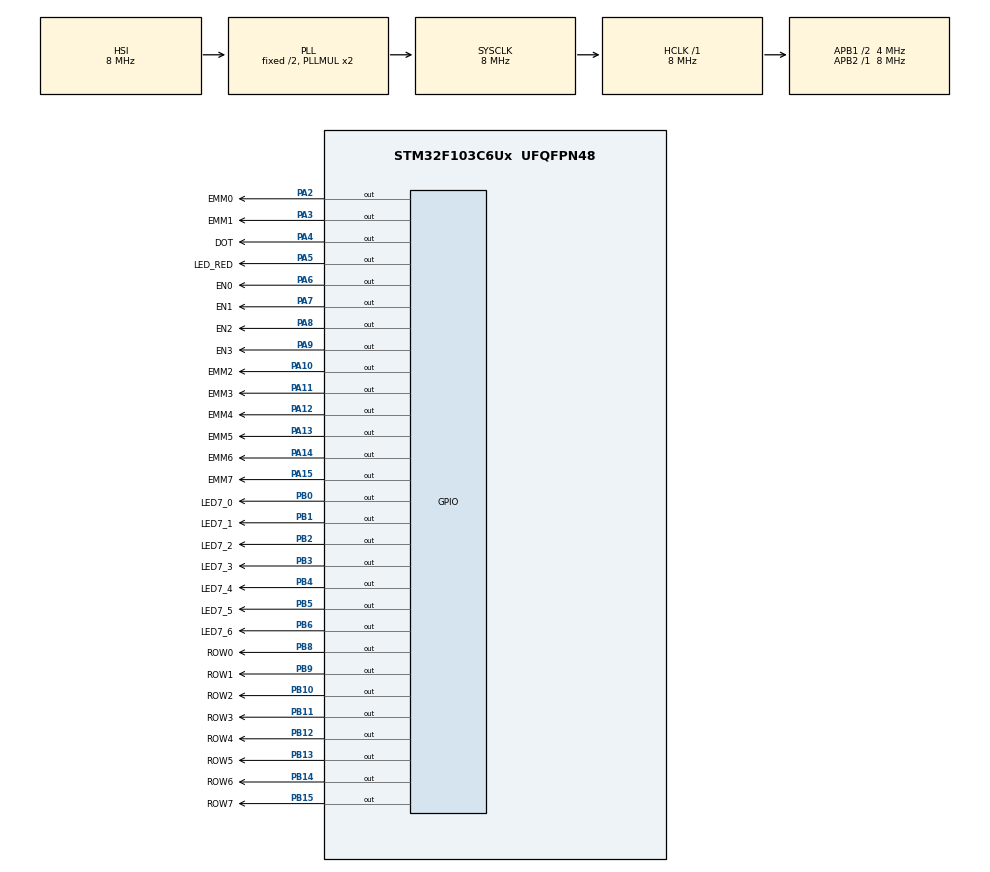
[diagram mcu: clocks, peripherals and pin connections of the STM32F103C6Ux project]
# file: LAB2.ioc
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Mcu.Family=STM32F1
Mcu.Name=STM32F103C6Ux
Mcu.Package=UFQFPN48
NVIC.PriorityGroup=NVIC_PRIORITYGROUP_4
NVIC.TIM2_IRQn=true\:0\:0\:false\:false\:true\:true\:true\:true
PA10.GPIO_Label=EMM2
PA10.Signal=GPIO_Output
PA11.GPIO_Label=EMM3
PA11.Signal=GPIO_Output
PA12.GPIO_Label=EMM4
PA12.Signal=GPIO_Output
PA13.GPIO_Label=EMM5
PA13.Signal=GPIO_Output
PA14.GPIO_Label=EMM6
PA14.Signal=GPIO_Output
PA15.GPIO_Label=EMM7
PA15.Signal=GPIO_Output
PA2.GPIO_Label=EMM0
PA2.Signal=GPIO_Output
PA3.GPIO_Label=EMM1
PA3.Signal=GPIO_Output
PA4.GPIO_Label=DOT
PA4.Signal=GPIO_Output
PA5.GPIO_Label=LED_RED
PA5.Signal=GPIO_Output
PA6.GPIO_Label=EN0
PA6.Signal=GPIO_Output
PA7.GPIO_Label=EN1
PA7.Signal=GPIO_Output
PA8.GPIO_Label=EN2
PA8.Signal=GPIO_Output
PA9.GPIO_Label=EN3
PA9.Signal=GPIO_Output
PB0.GPIO_Label=LED7_0
PB0.Signal=GPIO_Output
PB1.GPIO_Label=LED7_1
PB1.Signal=GPIO_Output
PB10.GPIO_Label=ROW2
PB10.Signal=GPIO_Output
PB11.GPIO_Label=ROW3
PB11.Signal=GPIO_Output
PB12.GPIO_Label=ROW4
PB12.Signal=GPIO_Output
PB13.GPIO_Label=ROW5
PB13.Signal=GPIO_Output
PB14.GPIO_Label=ROW6
PB14.Signal=GPIO_Output
PB15.GPIO_Label=ROW7
PB15.Signal=GPIO_Output
PB2.GPIO_Label=LED7_2
PB2.Signal=GPIO_Output
PB3.GPIO_Label=LED7_3
PB3.Signal=GPIO_Output
PB4.GPIO_Label=LED7_4
PB4.Signal=GPIO_Output
PB5.GPIO_Label=LED7_5
PB5.Signal=GPIO_Output
PB6.GPIO_Label=LED7_6
PB6.Signal=GPIO_Output
PB8.GPIO_Label=ROW0
PB8.Signal=GPIO_Output
PB9.GPIO_Label=ROW1
PB9.Signal=GPIO_Output
ProjectManager.HeapSize=0x200
ProjectManager.StackSize=0x400
ProjectManager.TargetToolchain=STM32CubeIDE
RCC.AHBFreq_Value=8000000
RCC.APB1CLKDivider=RCC_HCLK_DIV2
RCC.APB1Freq_Value=4000000
RCC.APB1TimFreq_Value=8000000
RCC.APB2Freq_Value=8000000
RCC.APB2TimFreq_Value=8000000
RCC.HCLKFreq_Value=8000000
RCC.SYSCLKFreq_VALUE=8000000
RCC.SYSCLKSource=RCC_SYSCLKSOURCE_PLLCLK
RCC.USBFreq_Value=8000000
TIM2.Period=2
TIM2.Prescaler=7999
VP_TIM2_VS_ClockSourceINT.Mode=Internal
board=custom

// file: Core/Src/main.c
/* USER CODE BEGIN Header */
/**
  ******************************************************************************
  * @file           : main.c
  * @brief          : Main program body
  ******************************************************************************
  * @attention
  *
  * Copyright (c) 2022 STMicroelectronics.
  * All rights reserved.
  *
  * This software is licensed under terms that can be found in the LICENSE file
  * in the root directory of this software component.
  * If no LICENSE file comes with this software, it is provided AS-IS.
  *
  ******************************************************************************
  */
/* USER CODE END Header */
#include "main.h"
#include "SoftwareTimer.h"

TIM_HandleTypeDef htim2;

void SystemClock_Config(void);
static void MX_GPIO_Init(void);
static void MX_TIM2_Init(void);

/* USER CODE BEGIN 0 */

void HAL_TIM_PeriodElapsedCallback ( TIM_HandleTypeDef * htim )
{
	timerRun();
 }

void displayDOT ( uint8_t num ) { // LSB (0) = > MSB (7)
	HAL_GPIO_WritePin ( EMM0_GPIO_Port , EMM7_Pin , !( num & 0x01 )) ;
	HAL_GPIO_WritePin ( EMM1_GPIO_Port , EMM6_Pin , !( num & 0x02 )) ;
	HAL_GPIO_WritePin ( EMM2_GPIO_Port , EMM5_Pin , !( num & 0x04 )) ;
	HAL_GPIO_WritePin ( EMM3_GPIO_Port , EMM4_Pin , !( num & 0x08 )) ;
	HAL_GPIO_WritePin ( EMM4_GPIO_Port , EMM3_Pin , !( num & 0x10 )) ;
	HAL_GPIO_WritePin ( EMM5_GPIO_Port , EMM2_Pin , !( num & 0x20 )) ;
	HAL_GPIO_WritePin ( EMM6_GPIO_Port , EMM1_Pin , !( num & 0x40 )) ;
	HAL_GPIO_WritePin ( EMM7_GPIO_Port , EMM0_Pin , !( num & 0x80 )) ;
 }

void clearMatrix () {
 HAL_GPIO_WritePin ( ROW0_GPIO_Port , ROW0_Pin , 1) ;
 HAL_GPIO_WritePin ( ROW1_GPIO_Port , ROW1_Pin , 1) ;
 HAL_GPIO_WritePin ( ROW2_GPIO_Port , ROW2_Pin , 1) ;
 HAL_GPIO_WritePin ( ROW3_GPIO_Port , ROW3_Pin , 1) ;
 HAL_GPIO_WritePin ( ROW4_GPIO_Port , ROW4_Pin , 1) ;
 HAL_GPIO_WritePin ( ROW5_GPIO_Port , ROW5_Pin , 1) ;
 HAL_GPIO_WritePin ( ROW6_GPIO_Port , ROW6_Pin , 1) ;
 HAL_GPIO_WritePin ( ROW7_GPIO_Port , ROW7_Pin , 1) ;
}

uint8_t matrix_buffer [8] = {0x18 ,0x3c ,0x66 ,0x66 ,0x7e ,0x66 ,0x66 ,0x66 }; // 	 .

void updateLEDMatrix (int index ) {
 switch ( index ) {
 	 case 0:
		displayDOT ( matrix_buffer [0]) ;
		HAL_GPIO_WritePin ( ROW7_GPIO_Port , ROW7_Pin , 1) ;
		HAL_GPIO_WritePin ( ROW0_GPIO_Port , ROW0_Pin , 0) ;
		break ;
 	 case 1:
 		 displayDOT ( matrix_buffer [1]) ;
 		 HAL_GPIO_WritePin ( ROW0_GPIO_Port , ROW0_Pin , 1) ;
 		 HAL_GPIO_WritePin ( ROW1_GPIO_Port , ROW1_Pin , 0) ;
 		 break ;
 	 case 2:
 		 displayDOT ( matrix_buffer [2]) ;
 		 HAL_GPIO_WritePin ( ROW1_GPIO_Port , ROW1_Pin , 1) ;
 		 HAL_GPIO_WritePin ( ROW2_GPIO_Port , ROW2_Pin , 0) ;
 		 break ;
 	 case 3:
 		 displayDOT ( matrix_buffer [3]) ;
 		 HAL_GPIO_WritePin ( ROW2_GPIO_Port , ROW2_Pin , 1) ;
 		 HAL_GPIO_WritePin ( ROW3_GPIO_Port , ROW3_Pin , 0) ;
 		 break ;
 	 case 4:
 		 displayDOT ( matrix_buffer [4]) ;
 		 HAL_GPIO_WritePin ( ROW3_GPIO_Port , ROW3_Pin , 1) ;
 		 HAL_GPIO_WritePin ( ROW4_GPIO_Port , ROW4_Pin , 0) ;
 		 break ;
 	 case 5:
 		 displayDOT ( matrix_buffer [5]) ;
 		 HAL_GPIO_WritePin ( ROW4_GPIO_Port , ROW4_Pin , 1) ;
 		 HAL_GPIO_WritePin ( ROW5_GPIO_Port , ROW5_Pin , 0) ;
 		 break ;
	 case 6:
		 displayDOT ( matrix_buffer [6]) ;
		 HAL_GPIO_WritePin ( ROW5_GPIO_Port , ROW5_Pin , 1) ;
		 HAL_GPIO_WritePin ( ROW6_GPIO_Port , ROW6_Pin , 0) ;
		 break ;
	 case 7:
		 displayDOT ( matrix_buffer [7]) ;
		 HAL_GPIO_WritePin ( ROW6_GPIO_Port , ROW6_Pin , 1) ;
		 HAL_GPIO_WritePin ( ROW7_GPIO_Port , ROW7_Pin , 0) ;
		 break ;
	 default :
	 break ;
	 }
 }

//void shiftBit () {
// // Shift MSB to LSB matrix_buffer [0]
// int msb = ( matrix_buffer [0] & 0x80 ) >> 7;
// matrix_buffer [0] = ( matrix_buffer [0] << 1) + msb ;
// // Shift MSB to LSB matrix_buffer [1]
// msb = ( matrix_buffer [1] & 0x80 ) >> 7;
// matrix_buffer [1] = ( matrix_buffer [1] << 1) + msb ;
// // Shift MSB to LSB matrix_buffer [2]
// msb = ( matrix_buffer [2] & 0x80 ) >> 7;
// matrix_buffer [2] = ( matrix_buffer [2] << 1) + msb ;
// // Shift MSB to LSB matrix_buffer [3]
// msb = ( matrix_buffer [3] & 0x80 ) >> 7;
// matrix_buffer [3] = ( matrix_buffer [3] << 1) + msb ;
// // Shift MSB to LSB matrix_buffer [4]
// msb = ( matrix_buffer [4] & 0x80 ) >> 7;
// matrix_buffer [4] = ( matrix_buffer [4] << 1) + msb ;
// // Shift MSB to LSB matrix_buffer [5]
// msb = ( matrix_buffer [5] & 0x80 ) >> 7;
// matrix_buffer [5] = ( matrix_buffer [5] << 1) + msb ;
// // Shift MSB to LSB matrix_buffer [6]
// msb = ( matrix_buffer [6] & 0x80 ) >> 7;
// matrix_buffer [6] = ( matrix_buffer [6] << 1) + msb ;
// // Shift MSB to LSB matrix_buffer [7]
// msb = ( matrix_buffer [7] & 0x80 ) >> 7;
// matrix_buffer [7] = ( matrix_buffer [7] << 1) + msb ;
// }
/* USER CODE END 0 */

int main(void)
{

  /* MCU Configuration--------------------------------------------------------*/

  /* Reset of all peripherals, Initializes the Flash interface and the Systick. */
  HAL_Init();

  /* Configure the system clock */
  SystemClock_Config();

  /* Initialize all configured peripherals */
  MX_GPIO_Init();
  MX_TIM2_Init();
  /* USER CODE BEGIN 2 */
  HAL_TIM_Base_Start_IT (& htim2 ) ;
  /* USER CODE END 2 */

  /* Infinite loop */
  /* USER CODE BEGIN WHILE */
 setTimer2 (10) ;
 int index = 0;
 clearMatrix () ;
 while (1)
   {
     /* USER CODE END WHILE */
 	  if( timer2_flag == 1) {
 	   setTimer2 (1000) ;
 	   updateLEDMatrix ( index ++) ;
 	   if( index > 7) {
 	   index = 0;
 	   }
 	  }

   }
}

void SystemClock_Config(void)
{
  RCC_OscInitTypeDef RCC_OscInitStruct = {0};
  RCC_ClkInitTypeDef RCC_ClkInitStruct = {0};

  /** Initializes the RCC Oscillators according to the specified parameters
  * in the RCC_OscInitTypeDef structure.
  */
  RCC_OscInitStruct.OscillatorType = RCC_OSCILLATORTYPE_HSI;
  RCC_OscInitStruct.HSIState = RCC_HSI_ON;
  RCC_OscInitStruct.HSICalibrationValue = RCC_HSICALIBRATION_DEFAULT;
  RCC_OscInitStruct.PLL.PLLState = RCC_PLL_ON;
  RCC_OscInitStruct.PLL.PLLSource = RCC_PLLSOURCE_HSI_DIV2;
  RCC_OscInitStruct.PLL.PLLMUL = RCC_PLL_MUL2;
  if (HAL_RCC_OscConfig(&RCC_OscInitStruct) != HAL_OK)
  {
    Error_Handler();
  }

  /** Initializes the CPU, AHB and APB buses clocks
  */
  RCC_ClkInitStruct.ClockType = RCC_CLOCKTYPE_HCLK|RCC_CLOCKTYPE_SYSCLK
                              |RCC_CLOCKTYPE_PCLK1|RCC_CLOCKTYPE_PCLK2;
  RCC_ClkInitStruct.SYSCLKSource = RCC_SYSCLKSOURCE_PLLCLK;
  RCC_ClkInitStruct.AHBCLKDivider = RCC_SYSCLK_DIV1;
  RCC_ClkInitStruct.APB1CLKDivider = RCC_HCLK_DIV2;
  RCC_ClkInitStruct.APB2CLKDivider = RCC_HCLK_DIV1;

  if (HAL_RCC_ClockConfig(&RCC_ClkInitStruct, FLASH_LATENCY_0) != HAL_OK)
  {
    Error_Handler();
  }
}

static void MX_TIM2_Init(void)
{

  TIM_ClockConfigTypeDef sClockSourceConfig = {0};
  TIM_MasterConfigTypeDef sMasterConfig = {0};

  htim2.Instance = TIM2;
  htim2.Init.Prescaler = 7999;
  htim2.Init.CounterMode = TIM_COUNTERMODE_UP;
  htim2.Init.Period = 1;
  htim2.Init.ClockDivision = TIM_CLOCKDIVISION_DIV1;
  htim2.Init.AutoReloadPreload = TIM_AUTORELOAD_PRELOAD_DISABLE;
  if (HAL_TIM_Base_Init(&htim2) != HAL_OK)
  {
    Error_Handler();
  }
  sClockSourceConfig.ClockSource = TIM_CLOCKSOURCE_INTERNAL;
  if (HAL_TIM_ConfigClockSource(&htim2, &sClockSourceConfig) != HAL_OK)
  {
    Error_Handler();
  }
  sMasterConfig.MasterOutputTrigger = TIM_TRGO_RESET;
  sMasterConfig.MasterSlaveMode = TIM_MASTERSLAVEMODE_DISABLE;
  if (HAL_TIMEx_MasterConfigSynchronization(&htim2, &sMasterConfig) != HAL_OK)
  {
    Error_Handler();
  }

}

static void MX_GPIO_Init(void)
{
  GPIO_InitTypeDef GPIO_InitStruct = {0};

  /* GPIO Ports Clock Enable */
  __HAL_RCC_GPIOA_CLK_ENABLE();
  __HAL_RCC_GPIOB_CLK_ENABLE();

  /*Configure GPIO pin Output Level */
  HAL_GPIO_WritePin(GPIOA, EMM0_Pin|EMM1_Pin|DOT_Pin|LED_RED_Pin
                          |EN0_Pin|EN1_Pin|EN2_Pin|EN3_Pin
                          |EMM2_Pin|EMM3_Pin|EMM4_Pin|EMM5_Pin
                          |EMM6_Pin|EMM7_Pin, GPIO_PIN_RESET);

  /*Configure GPIO pin Output Level */
  HAL_GPIO_WritePin(GPIOB, LED7_0_Pin|LED7_1_Pin|LED7_2_Pin|ROW2_Pin
                          |ROW3_Pin|ROW4_Pin|ROW5_Pin|ROW6_Pin
                          |ROW7_Pin|LED7_3_Pin|LED7_4_Pin|LED7_5_Pin
                          |LED7_6_Pin|ROW0_Pin|ROW1_Pin, GPIO_PIN_RESET);

  /*Configure GPIO pins : EMM0_Pin EMM1_Pin DOT_Pin LED_RED_Pin
                           EN0_Pin EN1_Pin EN2_Pin EN3_Pin
                           EMM2_Pin EMM3_Pin EMM4_Pin EMM5_Pin
                           EMM6_Pin EMM7_Pin */
  GPIO_InitStruct.Pin = EMM0_Pin|EMM1_Pin|DOT_Pin|LED_RED_Pin
                          |EN0_Pin|EN1_Pin|EN2_Pin|EN3_Pin
                          |EMM2_Pin|EMM3_Pin|EMM4_Pin|EMM5_Pin
                          |EMM6_Pin|EMM7_Pin;
  GPIO_InitStruct.Mode = GPIO_MODE_OUTPUT_PP;
  GPIO_InitStruct.Pull = GPIO_NOPULL;
  GPIO_InitStruct.Speed = GPIO_SPEED_FREQ_LOW;
  HAL_GPIO_Init(GPIOA, &GPIO_InitStruct);

  /*Configure GPIO pins : LED7_0_Pin LED7_1_Pin LED7_2_Pin ROW2_Pin
                           ROW3_Pin ROW4_Pin ROW5_Pin ROW6_Pin
                           ROW7_Pin LED7_3_Pin LED7_4_Pin LED7_5_Pin
                           LED7_6_Pin ROW0_Pin ROW1_Pin */
  GPIO_InitStruct.Pin = LED7_0_Pin|LED7_1_Pin|LED7_2_Pin|ROW2_Pin
                          |ROW3_Pin|ROW4_Pin|ROW5_Pin|ROW6_Pin
                          |ROW7_Pin|LED7_3_Pin|LED7_4_Pin|LED7_5_Pin
                          |LED7_6_Pin|ROW0_Pin|ROW1_Pin;
  GPIO_InitStruct.Mode = GPIO_MODE_OUTPUT_PP;
  GPIO_InitStruct.Pull = GPIO_NOPULL;
  GPIO_InitStruct.Speed = GPIO_SPEED_FREQ_LOW;
  HAL_GPIO_Init(GPIOB, &GPIO_InitStruct);

}

void Error_Handler(void)
{
  __disable_irq();
  while (1)
  {
  }
}
